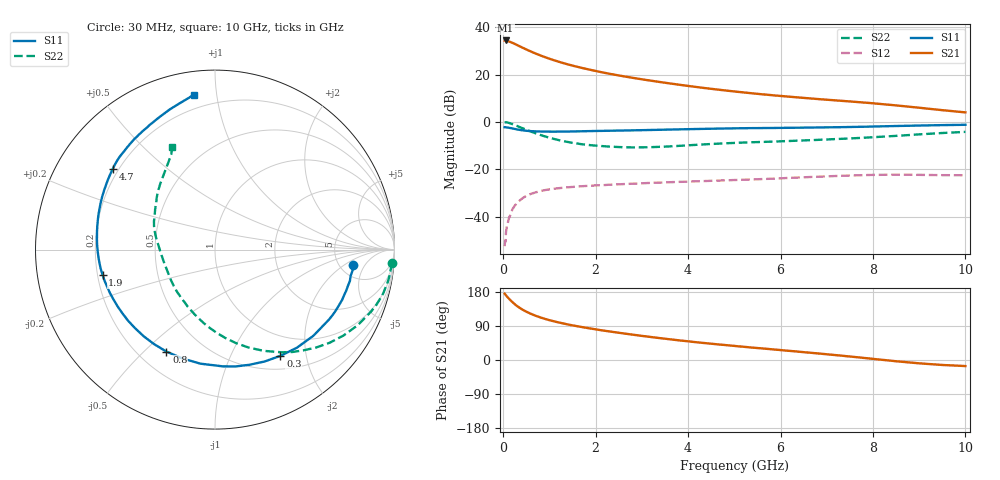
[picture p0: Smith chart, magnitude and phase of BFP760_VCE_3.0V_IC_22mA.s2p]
! Infineon Technologies  Discrete & RF Semiconductors
! BFP760
! VCE =  3.0 V,  IC =  22 mA
! Common Emitter S-Parameters:  Nov 2012
# GHz  S  MA  R  50
!  f  S11  S21  S12  S22
! GHz  MAG  ANG  MAG  ANG  MAG  ANG  MAG  ANG
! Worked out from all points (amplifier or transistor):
!   99 points, 30 MHz to 10 GHz, reference 50 ohm
!   highest |S21| = 34.4 dB at 50 MHz (marker M1)
!   |S21| within 3 dB of that: start of sweep to 413.9 MHz
!   unconditionally stable (mu >= 1): 4.584 GHz to end of sweep
!   at 350 MHz: K = 0.22, MSG = 32.6 dB, |S12| = -33.2 dB
!   at 3.5 GHz: K = 0.88, MSG = 21.0 dB, |S12| = -25.5 dB
!   at 10 GHz: K = 1.09, MAG = 11.4 dB, |S12| = -22.5 dB
!   S11 on the Smith chart (normalised r, x): 30 MHz: 6.62, -2.92; 300 MHz: 0.68, -1.57; 800 MHz: 0.31, -0.59; 1.9 GHz: 0.22, -0.11; 4.7 GHz: 0.18, +0.34; 10 GHz: 0.12, +0.86
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0.03  0.7761 -6.5  52.1 175.3  0.0024 84.4  0.9882 -4.3
0.05  0.7696 -10.9  52.35 171.9  0.003 68.2  0.9836 -7.3
0.09  0.7629 -19.4  51.13 166.3  0.0071 77.0  0.9715 -13.2
0.15  0.7448 -31.7  48.81 158.4  0.0107 74.6  0.936 -21.6
0.2  0.7287 -41.2  46.55 152.6  0.0145 69.5  0.9001 -27.9
0.25  0.7121 -50.1  44.27 147.2  0.0172 66.0  0.8609 -33.8
0.3  0.6951 -58.4  41.95 142.3  0.0195 62.6  0.823 -39.1
0.4  0.6697 -73.4  37.64 134.1  0.0239 57.1  0.7478 -48.6
0.5  0.6521 -86.1  33.82 127.5  0.0277 51.9  0.6832 -56.9
0.6  0.6407 -97.3  30.57 121.8  0.0304 48.1  0.626 -64.3
0.8  0.6293 -115.5  25.41 112.5  0.0348 41.9  0.5341 -77.3
1  0.6253 -129.5  21.57 105.1  0.0379 37.5  0.4652 -88.6
1.2  0.6257 -140.7  18.65 99.1  0.0401 34.5  0.4147 -98.6
1.7  0.6356 -161.1  13.81 87.0  0.0441 29.8  0.339 -119.9
1.9  0.642 -167.4  12.48 82.9  0.0452 28.6  0.3227 -127.7
2.6  0.6603 175.0  9.202 70.2  0.0489 25.9  0.2931 -151.3
3.4  0.6843 159.6  6.936 57.6  0.0527 24.3  0.2993 -173.8
4.7  0.7253 141.8  4.742 40.6  0.0582 22.5  0.3507 163.3
5.1  0.7358 138.1  4.296 36.0  0.06 22.1  0.3647 158.7
6.7  0.7635 125.7  3.104 18.6  0.0694 19.4  0.4152 142.6
8.5  0.8215 107.7  2.236 -3.3  0.0773 10.2  0.5086 124.0
10  0.8715 97.9  1.592 -16.0  0.0753 6.3  0.6182 112.8
